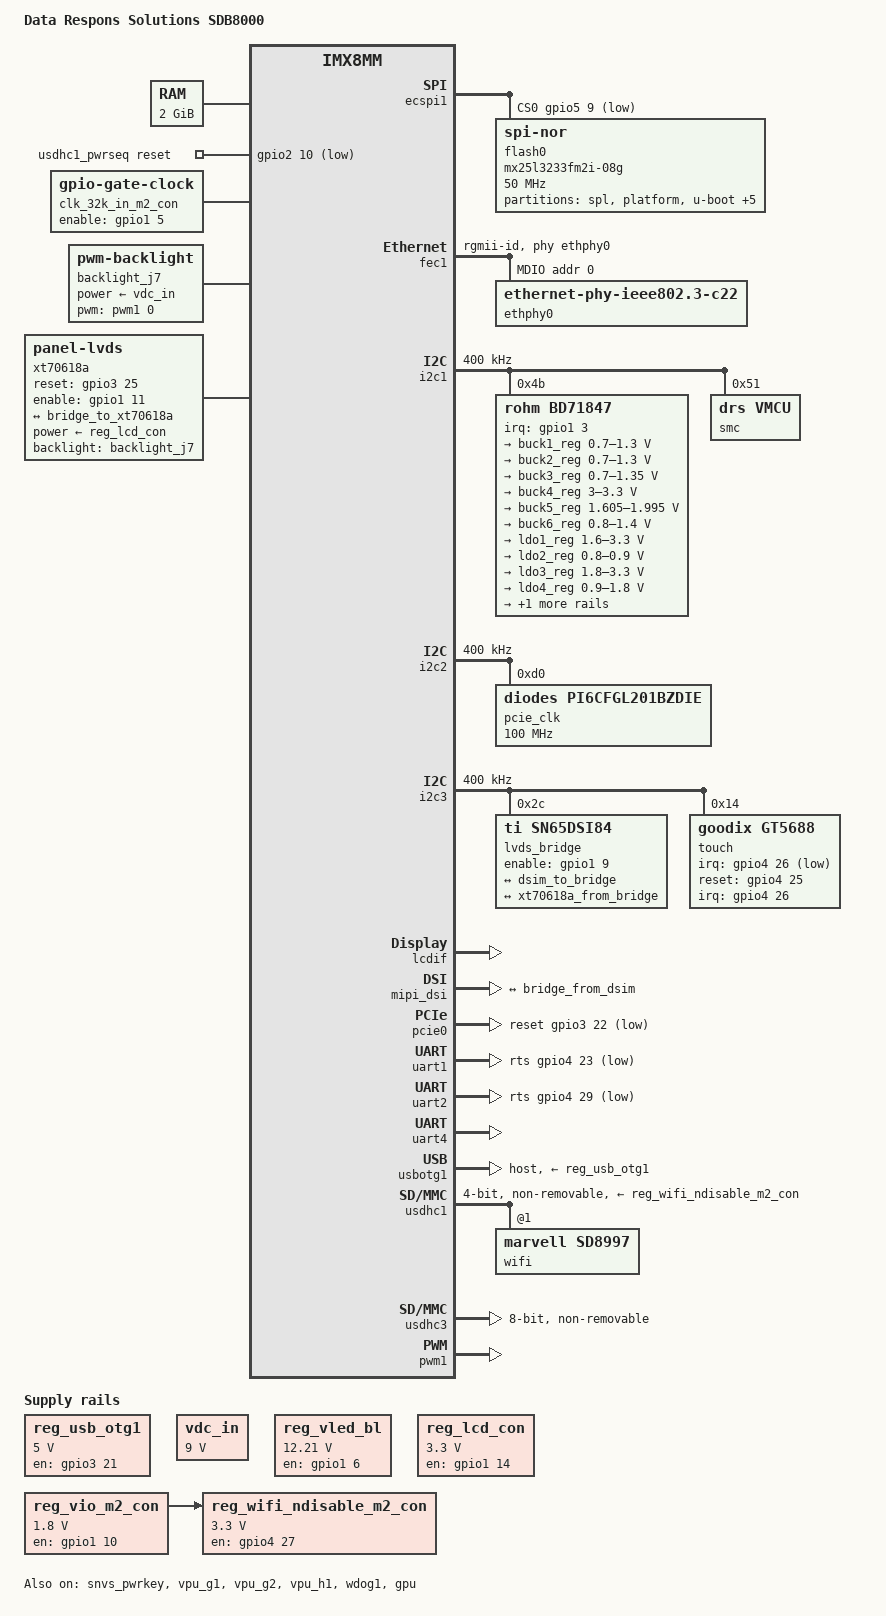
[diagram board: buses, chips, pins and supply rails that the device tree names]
// SPDX-License-Identifier: (GPL-2.0+ OR MIT)
/*
 * Copyright 2021 Data Respons Solutions AB
 */

/dts-v1/;

#include "imx8mm.dtsi"

/ {
	model = "Data Respons Solutions SDB8000";
	compatible = "drs,sdb8000", "fsl,imx8mm";

	chosen {
		stdout-path = &uart4;
	};

	aliases {
		rtc0 = &smc;
		rtc1 = &snvs_rtc;
	};

	memory@40000000 {
		device_type = "memory";
		reg = <0x0 0x40000000 0 0x80000000>;
	};

	reg_usb_otg1: regulator-usb-otg1 {
		compatible = "regulator-fixed";
		pinctrl-names = "default";
		pinctrl-0 = <&pinctrl_reg_usb_otg1>;
		regulator-name = "USB_OTG1_5V";
		regulator-min-microvolt = <5000000>;
		regulator-max-microvolt = <5000000>;
		gpio = <&gpio3 21 GPIO_ACTIVE_HIGH>;
		off-on-delay-us = <20000>;
		enable-active-high;
		regulator-always-on;
	};

	//FIXME: Find better type for VDC_IN 9-36V
	vdc_in: vdc-in {
		compatible = "regulator-fixed";
		regulator-name = "VDC_IN";
		regulator-min-microvolt = <9000000>;
		regulator-max-microvolt = <9000000>;
		regulator-always-on;
	};

	reg_vled_bl: regulator-vled-bl {
		compatible = "regulator-fixed";
		pinctrl-names = "default";
		pinctrl-0 = <&pinctrl_reg_vled_bl>;
		regulator-name = "VLED_BL";
		regulator-min-microvolt = <12210000>;
		regulator-max-microvolt = <12210000>;
		gpio = <&gpio1 6 GPIO_ACTIVE_HIGH>;
		off-on-delay-us = <20000>;
		enable-active-high;
	};

	reg_lcd_con: regulator-lcd-con {
		compatible = "regulator-fixed";
		pinctrl-names = "default";
		pinctrl-0 = <&pinctrl_reg_lcd_con>;
		regulator-name = "LCD_CON-VDD";
		regulator-min-microvolt = <3300000>;
		regulator-max-microvolt = <3300000>;
		gpio = <&gpio1 14 GPIO_ACTIVE_HIGH>;
		off-on-delay-us = <20000>;
		enable-active-high;
	};

	reg_vio_m2_con: regulator-vio-m2-con {
		compatible = "regulator-fixed";
		pinctrl-names = "default";
		pinctrl-0 = <&pinctrl_reg_vio_m2_con>;
		regulator-name = "VIO-M2_CON";
		regulator-min-microvolt = <1800000>;
		regulator-max-microvolt = <1800000>;
		gpio = <&gpio1 10 GPIO_ACTIVE_HIGH>;
		off-on-delay-us = <20000>;
		enable-active-high;
	};

	reg_wifi_ndisable_m2_con: reg-wifi-ndisable-m2-con {
		compatible = "regulator-fixed";
		pinctrl-names = "default";
		pinctrl-0 = <&pinctrl_reg_wifi_ndisable_m2_con>;
		vin-supply = <&reg_vio_m2_con>;
		regulator-name = "WIFI_nDISABLE-M2_CON";
		regulator-min-microvolt = <3300000>;
		regulator-max-microvolt = <3300000>;
		gpio = <&gpio4 27 GPIO_ACTIVE_HIGH>;
		startup-delay-us = <1000>;
		enable-active-high;
	};

	usdhc1_pwrseq: usdhc1_pwrseq {
		compatible = "mmc-pwrseq-simple";
		pinctrl-names = "default";
		pinctrl-0 = <&pinctrl_usdhc1_pwrseq>;
		reset-gpios = <&gpio2 10 GPIO_ACTIVE_LOW>;
		post-power-on-delay-ms = <1>;
		clocks = <&clk_32k_in_m2_con>;
		clock-names = "ext_clock";
	};

	clk_32k_in_m2_con: clk-32k-in-m2-con {
		compatible = "gpio-gate-clock";
		pinctrl-names = "default";
		pinctrl-0 = <&pinctrl_clk_32k_in_m2_con>;
		clocks = <&osc_32k>;
		#clock-cells = <0>;
		enable-gpios = <&gpio1 5 GPIO_ACTIVE_HIGH>;
	};

/*
	backlight_j5: backlight-j5 {
		compatible = "pwm-backlight";
		pwms = <&pwm1 0 1000000>;
        brightness-levels = <	0 1 2 3 4 5 6 7 8 9 10 15 20 25
        						30 40 50 60 70 80 90 100 120 150
        					>;
		default-brightness-level = <23>;
		power-supply = <&reg_vled_bl>;
	};
*/
	backlight_j7: backlight-j7 {
		compatible = "pwm-backlight";
		pwms = <&pwm1 0 1000000 0>;
        brightness-levels = <	0 1 2 3 4 5 6 7 8 9 10 15 20 25
        						30 40 50 60 70 80 90 100 120 150
        					>;
		default-brightness-level = <23>;
		power-supply = <&vdc_in>;
		status = "okay";
	};

	panel_lvds: xt70618a {
		compatible = "panel-lvds";
		label = "xt70618a";
		data-mapping = "jeida-24";
		width-mm = <154>;
		height-mm = <86>;
		reset-gpios = <&gpio3 25 GPIO_ACTIVE_HIGH>;
		enable-gpios = <&gpio1 11 GPIO_ACTIVE_HIGH>;
		power-supply = <&reg_lcd_con>;
		backlight = <&backlight_j7>;

		panel-timing {
			clock-frequency = <51200000>; // 40,8 ~ 67,2
			hactive = <1024>;
			vactive = <600>;
			hback-porch = <30>;
			hfront-porch = <30>;
			vback-porch = <10>;
			vfront-porch = <10>;
			hsync-len = <260>;
			vsync-len = <15>;
		};

		port {
			xt70618a_from_bridge: endpoint {
				remote-endpoint = <&bridge_to_xt70618a>;
			};
		};
	};
};

&ddrc {
	operating-points-v2 = <&ddrc_opp_table>;

	ddrc_opp_table: opp-table {
		compatible = "operating-points-v2";

		opp-25M {
			opp-hz = /bits/ 64 <25000000>;
		};

		opp-100M {
			opp-hz = /bits/ 64 <100000000>;
		};

		opp-750M {
			opp-hz = /bits/ 64 <750000000>;
		};
	};
};

&A53_0 {
	cpu-supply = <&buck2_reg>;
};

&A53_1 {
	cpu-supply = <&buck2_reg>;
};

&A53_2 {
	cpu-supply = <&buck2_reg>;
};

&A53_3 {
	cpu-supply = <&buck2_reg>;
};

&ecspi1 {
	#address-cells = <1>;
	#size-cells = <0>;
	pinctrl-names = "default";
	pinctrl-0 = <&pinctrl_ecspi1>;
	cs-gpios = <&gpio5 9 GPIO_ACTIVE_LOW>;
	status = "okay";

	flash0: mx25l3233fm2i-08g@0 {
		//FIXME: WP
		reg = <0>;
		#address-cells = <1>;
		#size-cells = <1>;
		compatible = "jedec,spi-nor";
		spi-max-frequency = <50000000>;

		partitions {
			compatible = "fixed-partitions";
			#address-cells = <1>;
			#size-cells = <1>;

			spl@0 {
				label = "spl";
				reg = <0x000000 0x040000>;
			};

			platform@40000 {
				label = "platform";
				reg = <0x040000 0x010000>;
				read-only;
			};

			u-boot@50000 {
				label = "u-boot";
				reg = <0x050000 0x1A0000>;
			};

			u-boot-second@1F0000 {
				label = "u-boot-second";
				reg = <0x1F0000 0x1A0000>;
			};

			system_a@390000 {
				label = "system_a";
				reg = <0x390000 0x010000>;
			};

			system_b@3A0000 {
				label = "system_b";
				reg = <0x3A0000 0x010000>;
			};

			user_a@3B0000 {
				label = "user_a";
				reg = <0x3B0000 0x010000>;
			};

			user_b@3C0000 {
				label = "user_b";
				reg = <0x3C0000 0x010000>;
			};
		};
	};
};

&ecspi2 {
	#address-cells = <1>;
	#size-cells = <0>;
	pinctrl-names = "default";
	pinctrl-0 = <&pinctrl_ecspi2>;
	cs-gpios = <&gpio5 13 GPIO_ACTIVE_LOW>;
};

&fec1 {
	pinctrl-names = "default";
	pinctrl-0 = <&pinctrl_fec1>;
	phy-mode = "rgmii-id";
	phy-handle = <&ethphy0>;
	fsl,magic-packet;
	status = "okay";

	mdio {
		#address-cells = <1>;
		#size-cells = <0>;

		ethphy0: ethernet-phy@0 {
			compatible = "ethernet-phy-ieee802.3-c22";
			reg = <0>;
			at803x,eee-disabled;
			at803x,vddio-1p8v;
		};
	};
};

&i2c1 {
	clock-frequency = <400000>;
	pinctrl-names = "default";
	pinctrl-0 = <&pinctrl_i2c1>;
	status = "okay";

	bd71847: pmic@4b {
		compatible = "rohm,bd71847";
		reg = <0x4b>;
		pinctrl-0 = <&pinctrl_pmic>;
		pinctrl-names = "default";
		interrupt-parent = <&gpio1>;
		interrupts = <3 GPIO_ACTIVE_LOW>;
		rohm,reset-snvs-powered;

		#clock-cells = <0>;
		clocks = <&osc_32k 0>;
		clock-output-names = "clk-32k-out";

		regulators {
			buck1_reg: BUCK1 {
				regulator-name = "BUCK1";
				regulator-min-microvolt = <700000>;
				regulator-max-microvolt = <1300000>;
				regulator-boot-on;
				regulator-always-on;
				regulator-ramp-delay = <1250>;
			};

			buck2_reg: BUCK2 {
				regulator-name = "BUCK2";
				regulator-min-microvolt = <700000>;
				regulator-max-microvolt = <1300000>;
				regulator-boot-on;
				regulator-always-on;
				regulator-ramp-delay = <1250>;
				rohm,dvs-run-voltage = <1000000>;
				rohm,dvs-idle-voltage = <900000>;
			};

			buck3_reg: BUCK3 {
				// BUCK5 in datasheet
				regulator-name = "BUCK3";
				regulator-min-microvolt = <700000>;
				regulator-max-microvolt = <1350000>;
				regulator-boot-on;
				regulator-always-on;
			};

			buck4_reg: BUCK4 {
				// BUCK6 in datasheet
				regulator-name = "BUCK4";
				regulator-min-microvolt = <3000000>;
				regulator-max-microvolt = <3300000>;
				regulator-boot-on;
				regulator-always-on;
			};

			buck5_reg: BUCK5 {
				// BUCK7 in datasheet
				regulator-name = "BUCK5";
				regulator-min-microvolt = <1605000>;
				regulator-max-microvolt = <1995000>;
				regulator-boot-on;
				regulator-always-on;
			};

			buck6_reg: BUCK6 {
				// BUCK8 in datasheet
				regulator-name = "BUCK6";
				regulator-min-microvolt = <800000>;
				regulator-max-microvolt = <1400000>;
				regulator-boot-on;
				regulator-always-on;
			};

			ldo1_reg: LDO1 {
				regulator-name = "LDO1";
				regulator-min-microvolt = <1600000>;
				regulator-max-microvolt = <3300000>;
				regulator-boot-on;
				regulator-always-on;
			};

			ldo2_reg: LDO2 {
				regulator-name = "LDO2";
				regulator-min-microvolt = <800000>;
				regulator-max-microvolt = <900000>;
				regulator-boot-on;
				regulator-always-on;
			};

			ldo3_reg: LDO3 {
				regulator-name = "LDO3";
				regulator-min-microvolt = <1800000>;
				regulator-max-microvolt = <3300000>;
				regulator-boot-on;
				regulator-always-on;
			};

			ldo4_reg: LDO4 {
				regulator-name = "LDO4";
				regulator-min-microvolt = <900000>;
				regulator-max-microvolt = <1800000>;
				regulator-boot-on;
				regulator-always-on;
			};

			ldo6_reg: LDO6 {
				regulator-name = "LDO6";
				regulator-min-microvolt = <900000>;
				regulator-max-microvolt = <1800000>;
				regulator-boot-on;
				regulator-always-on;
			};
		};
	};


	smc: vmcu@51 {
		compatible = "drs,vmcu";
		reg = <0x51>;
		//FIXME: move interrupt
		//interrupt-parent = <&gpio5>;
		//interrupts = <9 IRQ_TYPE_EDGE_FALLING>;
	};
};

&i2c2 {
	clock-frequency = <400000>;
	pinctrl-names = "default";
	pinctrl-0 = <&pinctrl_i2c2>;
	status = "okay";

	pcie_clk: pi6cfgl201bzdie@d0 {
		compatible = "diodes,pi6cfgl201bzdie", "fixed-clock";
		reg = <0xd0>;
		#clock-cells = <0>;
		clock-frequency = <100000000>;
	};
};

&i2c3 {
	clock-frequency = <400000>;
	pinctrl-names = "default";
	pinctrl-0 = <&pinctrl_i2c3>;
	status = "okay";

	lvds_bridge: sn65dsi84@2c {
		compatible = "ti,sn65dsi84";
		reg = <0x2c>;
		enable-gpios = <&gpio1 9 GPIO_ACTIVE_HIGH>;

		ports {
			#address-cells = <1>;
			#size-cells = <0>;

			port@0 {
				reg = <0>;
				bridge_from_dsim: endpoint {
					remote-endpoint = <&dsim_to_bridge>;
					data-lanes = <1 2 3 4>;
				};
			};

			port@2 {
				reg = <2>;
				bridge_to_xt70618a: endpoint {
					remote-endpoint = <&xt70618a_from_bridge>;
				};
			};
		};
	};

	touch: gt5688@14 {
    	compatible = "goodix,gt5688";
    	reg = <0x14>;
    	interrupt-parent = <&gpio4>;
    	interrupts = <26 IRQ_TYPE_NONE>;
    	irq-gpios = <&gpio4 26 GPIO_ACTIVE_LOW>;
    	reset-gpios = <&gpio4 25 GPIO_ACTIVE_HIGH>;
	};
};

&lcdif {
	status = "okay";
};

&mipi_dsi {
	status = "okay";
	port@1 {
		dsim_to_bridge: endpoint {
			remote-endpoint = <&bridge_from_dsim>;
			attach-bridge;
		};
	};
};

&pcie0{
	pinctrl-names = "default";
	pinctrl-0 = <&pinctrl_pcie0>;
	reset-gpio = <&gpio3 22 GPIO_ACTIVE_LOW>;
	clocks = <&clk IMX8MM_CLK_PCIE1_ROOT>,
		 <&clk IMX8MM_CLK_PCIE1_AUX>,
		 <&clk IMX8MM_CLK_PCIE1_PHY>,
		 <&pcie_clk>;
	clock-names = "pcie", "pcie_aux", "pcie_phy", "pcie_bus";
	assigned-clocks = <&clk IMX8MM_CLK_PCIE1_AUX>;
	assigned-clock-rates = <10000000>;
	assigned-clock-parents = <&clk IMX8MM_SYS_PLL2_50M>;
	ext_osc = <1>;
	status = "okay";
};

&snvs_pwrkey {
	status = "okay";
};

&uart1 {
	pinctrl-names = "default";
	pinctrl-0 = <&pinctrl_uart1>;
	cts-gpios = <&gpio4 24 GPIO_ACTIVE_LOW>;
	rts-gpios = <&gpio4 23 GPIO_ACTIVE_LOW>;
	status = "okay";
};

&uart2 {
	pinctrl-names = "default";
	pinctrl-0 = <&pinctrl_uart2>;
	cts-gpios = <&gpio4 30 GPIO_ACTIVE_LOW>;
	rts-gpios = <&gpio4 29 GPIO_ACTIVE_LOW>;
	fsl,dte-mode;
	status = "okay";
};

&uart4 {
	pinctrl-names = "default";
	pinctrl-0 = <&pinctrl_uart4>;
	status = "okay";
};

&usbotg1 {
	dr_mode = "host";
	vbus-supply = <&reg_usb_otg1>;
	status = "okay";
};

&usdhc1 {
	#address-cells = <1>;
	#size-cells = <0>;
	pinctrl-names = "default", "state_100mhz", "state_200mhz";
	pinctrl-0 = <&pinctrl_usdhc1>;
	pinctrl-1 = <&pinctrl_usdhc1_100mhz>;
	pinctrl-2 = <&pinctrl_usdhc1_200mhz>;
	bus-width = <4>;
	cap-power-off-card;
	pm-ignore-notify;
	keep-power-in-suspend;
	non-removable;
	mmc-pwrseq = <&usdhc1_pwrseq>;
	vmmc-supply = <&reg_wifi_ndisable_m2_con>;
	status = "okay";

	wifi: wifi@1 {
		compatible = "marvell,sd8997";
		reg = <1>;
	};
};

&usdhc3 {
	assigned-clocks = <&clk IMX8MM_CLK_USDHC3_ROOT>;
	assigned-clock-rates = <400000000>;
	pinctrl-names = "default", "state_100mhz", "state_200mhz";
	pinctrl-0 = <&pinctrl_usdhc3>;
	pinctrl-1 = <&pinctrl_usdhc3_100mhz>;
	pinctrl-2 = <&pinctrl_usdhc3_200mhz>;
	bus-width = <8>;
	non-removable;
	status = "okay";

	partitions {
		compatible = "fixed-partitions";
		#address-cells = <1>;
		#size-cells = <1>;

		reserved@0 {
			label = "reserved";
			reg = <0x0 0x1000000>;
		};
	};
};

&pwm1 {
	pinctrl-names = "default";
	pinctrl-0 = <&pinctrl_pwm1>;
	status = "okay";
};

&vpu_g1 {
	status = "okay";
};

&vpu_g2 {
	status = "okay";
};

&vpu_h1 {
	status = "okay";
};

&wdog1 {
	pinctrl-names = "default";
	pinctrl-0 = <&pinctrl_wdog>;
	fsl,ext-reset-output;
	status = "okay";
};

&gpu {
	status = "okay";
};

&iomuxc {
	pinctrl-names = "default";
	pinctrl-0 = <&pinctrl_hog_1>;

	pinctrl_hog_1: hog1grp {
		fsl,pins = <
			// Used by panel
			MX8MM_IOMUXC_SAI5_MCLK_GPIO3_IO25	0x0 /* LCD_CON-RESET */
			MX8MM_IOMUXC_GPIO1_IO11_GPIO1_IO11	0x0 /* LCD_CON-STBY */
		>;
	};

	pinctrl_ecspi1: ecspi1grp {
		fsl,pins = <
			MX8MM_IOMUXC_ECSPI1_SCLK_ECSPI1_SCLK	0x82
			MX8MM_IOMUXC_ECSPI1_MISO_ECSPI1_MISO	0x82
			MX8MM_IOMUXC_ECSPI1_MOSI_ECSPI1_MOSI	0x82
			MX8MM_IOMUXC_ECSPI1_SS0_GPIO5_IO9		0x0 /* ECSPI1_SS0 */
			MX8MM_IOMUXC_GPIO1_IO15_GPIO1_IO15		0x0 /* WP_Flash */
		>;
	};

	pinctrl_ecspi2: ecspi2grp {
		fsl,pins = <
			MX8MM_IOMUXC_ECSPI2_SCLK_ECSPI2_SCLK	0x82
			MX8MM_IOMUXC_ECSPI2_MOSI_ECSPI2_MOSI	0x82
			MX8MM_IOMUXC_ECSPI2_MISO_ECSPI2_MISO	0x82
			MX8MM_IOMUXC_ECSPI2_SS0_GPIO5_IO13		0x0 /* ECSPI2_SS0 */
		>;
	};

	pinctrl_fec1: fec1grp {
		fsl,pins = <
			MX8MM_IOMUXC_ENET_MDC_ENET1_MDC			0x3
			MX8MM_IOMUXC_ENET_MDIO_ENET1_MDIO		0x3
			MX8MM_IOMUXC_ENET_TD3_ENET1_RGMII_TD3		0x1f
			MX8MM_IOMUXC_ENET_TD2_ENET1_RGMII_TD2		0x1f
			MX8MM_IOMUXC_ENET_TD1_ENET1_RGMII_TD1		0x1f
			MX8MM_IOMUXC_ENET_TD0_ENET1_RGMII_TD0		0x1f
			MX8MM_IOMUXC_ENET_RD3_ENET1_RGMII_RD3		0x91
			MX8MM_IOMUXC_ENET_RD2_ENET1_RGMII_RD2		0x91
			MX8MM_IOMUXC_ENET_RD1_ENET1_RGMII_RD1		0x91
			MX8MM_IOMUXC_ENET_RD0_ENET1_RGMII_RD0		0x91
			MX8MM_IOMUXC_ENET_TXC_ENET1_RGMII_TXC		0x1f
			MX8MM_IOMUXC_ENET_RXC_ENET1_RGMII_RXC		0x91
			MX8MM_IOMUXC_ENET_RX_CTL_ENET1_RGMII_RX_CTL	0x91
			MX8MM_IOMUXC_ENET_TX_CTL_ENET1_RGMII_TX_CTL	0x1f
			MX8MM_IOMUXC_SAI2_RXC_GPIO4_IO22		0x19
		>;
	};

	pinctrl_i2c1: i2c1grp {
		fsl,pins = <
			MX8MM_IOMUXC_I2C1_SCL_I2C1_SCL		0x40000083
			MX8MM_IOMUXC_I2C1_SDA_I2C1_SDA		0x40000083
		>;
	};

	pinctrl_i2c2: i2c2grp {
		fsl,pins = <
			MX8MM_IOMUXC_I2C2_SCL_I2C2_SCL		0x40000083
			MX8MM_IOMUXC_I2C2_SDA_I2C2_SDA		0x40000083
		>;
	};

	pinctrl_i2c3: i2c3grp {
		fsl,pins = <
			MX8MM_IOMUXC_I2C3_SCL_I2C3_SCL		0x40000083
			MX8MM_IOMUXC_I2C3_SDA_I2C3_SDA		0x40000083
			MX8MM_IOMUXC_GPIO1_IO09_GPIO1_IO9	0x0 /* MIPI_DSI_EN */
			MX8MM_IOMUXC_GPIO1_IO13_GPIO1_IO13	0x80 /* MIPI_DSI_INT */
			MX8MM_IOMUXC_SAI2_TXD0_GPIO4_IO26	0x80 /* INT_TP */
			MX8MM_IOMUXC_SAI2_TXC_GPIO4_IO25	0x0 /* RST_TP */
		>;
	};

	pinctrl_pcie0: pcie0grp {
		fsl,pins = <
			MX8MM_IOMUXC_I2C4_SCL_PCIE1_CLKREQ_B	0x20 /* I2C4_SCL */
			MX8MM_IOMUXC_SAI5_RXD1_GPIO3_IO22		0x0 /* LAN1_PE_nRST */
			MX8MM_IOMUXC_SAI5_RXD2_GPIO3_IO23		0x0 /* LAN1_nSMBALRT */
			MX8MM_IOMUXC_SAI5_RXD3_GPIO3_IO24		0x0 /* LAN1_nWAKE */
		>;
	};

	pinctrl_uart1: uart1grp {
		fsl,pins = <
			MX8MM_IOMUXC_UART1_RXD_UART1_DCE_RX		0x80
			MX8MM_IOMUXC_UART1_TXD_UART1_DCE_TX		0x80
			MX8MM_IOMUXC_SAI2_TXFS_GPIO4_IO24		0x80
			MX8MM_IOMUXC_SAI2_RXD0_GPIO4_IO23		0x80
		>;
	};

	pinctrl_uart2: uart2grp {
		fsl,pins = <
			MX8MM_IOMUXC_UART2_RXD_UART2_DTE_TX		0x80
			MX8MM_IOMUXC_UART2_TXD_UART2_DTE_RX		0x80
			MX8MM_IOMUXC_SAI3_RXC_GPIO4_IO29		0x80
			MX8MM_IOMUXC_SAI3_RXD_GPIO4_IO30		0x80
		>;
	};

	pinctrl_uart4: uart4grp {
		fsl,pins = <
			MX8MM_IOMUXC_UART4_RXD_UART4_DCE_RX		0x80
			MX8MM_IOMUXC_UART4_TXD_UART4_DCE_TX		0x80
		>;
	};

	pinctrl_pmic: pmicirqgrp {
		fsl,pins = <
			MX8MM_IOMUXC_GPIO1_IO03_GPIO1_IO3		0x41
		>;
	};

	pinctrl_wdog: wdoggrp {
		fsl,pins = <
			MX8MM_IOMUXC_GPIO1_IO02_WDOG1_WDOG_B	0xc6
		>;
	};

	pinctrl_reg_usb_otg1: usbotg1grp {
		fsl,pins = <
			MX8MM_IOMUXC_SAI5_RXD0_GPIO3_IO21	0x41
		>;
	};

	pinctrl_usdhc1_pwrseq: usdhc1pwrseqgrp{
		fsl,pins = <
			MX8MM_IOMUXC_SD1_RESET_B_GPIO2_IO10	0x0 /* WL_REG_ON */
		>;
	};

	pinctrl_usdhc1: usdhc1grp {
		fsl,pins = <
			MX8MM_IOMUXC_SD1_CLK_USDHC1_CLK		0x190
			MX8MM_IOMUXC_SD1_CMD_USDHC1_CMD		0x1d0
			MX8MM_IOMUXC_SD1_DATA0_USDHC1_DATA0	0x1d0
			MX8MM_IOMUXC_SD1_DATA1_USDHC1_DATA1	0x1d0
			MX8MM_IOMUXC_SD1_DATA2_USDHC1_DATA2	0x1d0
			MX8MM_IOMUXC_SD1_DATA3_USDHC1_DATA3	0x1d0
		>;
	};

	pinctrl_usdhc1_100mhz: usdhc1grp100mhz {
		fsl,pins = <
			MX8MM_IOMUXC_SD1_CLK_USDHC1_CLK		0x194
			MX8MM_IOMUXC_SD1_CMD_USDHC1_CMD		0x1d4
			MX8MM_IOMUXC_SD1_DATA0_USDHC1_DATA0	0x1d4
			MX8MM_IOMUXC_SD1_DATA1_USDHC1_DATA1	0x1d4
			MX8MM_IOMUXC_SD1_DATA2_USDHC1_DATA2	0x1d4
			MX8MM_IOMUXC_SD1_DATA3_USDHC1_DATA3	0x1d4
		>;
	};

	pinctrl_usdhc1_200mhz: usdhc1grp200mhz {
		fsl,pins = <
			MX8MM_IOMUXC_SD1_CLK_USDHC1_CLK		0x196
			MX8MM_IOMUXC_SD1_CMD_USDHC1_CMD		0x1d6
			MX8MM_IOMUXC_SD1_DATA0_USDHC1_DATA0	0x1d6
			MX8MM_IOMUXC_SD1_DATA1_USDHC1_DATA1	0x1d6
			MX8MM_IOMUXC_SD1_DATA2_USDHC1_DATA2	0x1d6
			MX8MM_IOMUXC_SD1_DATA3_USDHC1_DATA3	0x1d6
		>;
	};

	pinctrl_usdhc3: usdhc3grp {
		fsl,pins = <
			MX8MM_IOMUXC_NAND_WE_B_USDHC3_CLK               0x190
			MX8MM_IOMUXC_NAND_WP_B_USDHC3_CMD               0x1d0
			MX8MM_IOMUXC_NAND_DATA04_USDHC3_DATA0           0x1d0
			MX8MM_IOMUXC_NAND_DATA05_USDHC3_DATA1           0x1d0
			MX8MM_IOMUXC_NAND_DATA06_USDHC3_DATA2           0x1d0
			MX8MM_IOMUXC_NAND_DATA06_USDHC3_DATA2           0x1d0
			MX8MM_IOMUXC_NAND_DATA07_USDHC3_DATA3           0x1d0
			MX8MM_IOMUXC_NAND_RE_B_USDHC3_DATA4             0x1d0
			MX8MM_IOMUXC_NAND_CE2_B_USDHC3_DATA5            0x1d0
			MX8MM_IOMUXC_NAND_CE3_B_USDHC3_DATA6            0x1d0
			MX8MM_IOMUXC_NAND_CLE_USDHC3_DATA7              0x1d0
			MX8MM_IOMUXC_NAND_CE1_B_USDHC3_STROBE           0x190
			/* FIXME: USDHC3_RESET_B: MX8MM_IOMUXC_NAND_READY_B_SIM_M_HADDR12 0xXX */
		>;
	};

	pinctrl_usdhc3_100mhz: usdhc3-100mhzgrp {
		fsl,pins = <
			MX8MM_IOMUXC_NAND_WE_B_USDHC3_CLK               0x194
			MX8MM_IOMUXC_NAND_WP_B_USDHC3_CMD               0x1d4
			MX8MM_IOMUXC_NAND_DATA04_USDHC3_DATA0           0x1d4
			MX8MM_IOMUXC_NAND_DATA05_USDHC3_DATA1           0x1d4
			MX8MM_IOMUXC_NAND_DATA06_USDHC3_DATA2           0x1d4
			MX8MM_IOMUXC_NAND_DATA07_USDHC3_DATA3           0x1d4
			MX8MM_IOMUXC_NAND_RE_B_USDHC3_DATA4             0x1d4
			MX8MM_IOMUXC_NAND_CE2_B_USDHC3_DATA5            0x1d4
			MX8MM_IOMUXC_NAND_CE3_B_USDHC3_DATA6            0x1d4
			MX8MM_IOMUXC_NAND_CLE_USDHC3_DATA7              0x1d4
			MX8MM_IOMUXC_NAND_CE1_B_USDHC3_STROBE           0x194
			/* FIXME: USDHC3_RESET_B: MX8MM_IOMUXC_NAND_READY_B_SIM_M_HADDR12 0xXX */
		>;
	};

	pinctrl_usdhc3_200mhz: usdhc3-200mhzgrp {
		fsl,pins = <
			MX8MM_IOMUXC_NAND_WE_B_USDHC3_CLK               0x196
			MX8MM_IOMUXC_NAND_WP_B_USDHC3_CMD               0x1d6
			MX8MM_IOMUXC_NAND_DATA04_USDHC3_DATA0           0x1d6
			MX8MM_IOMUXC_NAND_DATA05_USDHC3_DATA1           0x1d6
			MX8MM_IOMUXC_NAND_DATA06_USDHC3_DATA2           0x1d6
			MX8MM_IOMUXC_NAND_DATA07_USDHC3_DATA3           0x1d6
			MX8MM_IOMUXC_NAND_RE_B_USDHC3_DATA4             0x1d6
			MX8MM_IOMUXC_NAND_CE2_B_USDHC3_DATA5            0x1d6
			MX8MM_IOMUXC_NAND_CE3_B_USDHC3_DATA6            0x1d6
			MX8MM_IOMUXC_NAND_CLE_USDHC3_DATA7              0x1d6
			MX8MM_IOMUXC_NAND_CE1_B_USDHC3_STROBE           0x196
			/* FIXME: USDHC3_RESET_B: MX8MM_IOMUXC_NAND_READY_B_SIM_M_HADDR12 0xXX */
		>;
	};

	pinctrl_pwm1: pwm1grp {
		fsl,pins = <
			MX8MM_IOMUXC_I2C4_SDA_PWM1_OUT	0x0 /* LCD_BK_PWM-CPU */
		>;
	};

	pinctrl_reg_vled_bl: regvledblgrp {
		fsl,pins = <
			MX8MM_IOMUXC_GPIO1_IO06_GPIO1_IO6 0x0 /* LCD_BK_EN-CPU */
		>;
	};

	pinctrl_reg_lcd_con: reglcdcongrp {
		fsl,pins = <
			MX8MM_IOMUXC_GPIO1_IO14_GPIO1_IO14	0x0 /* LCD_PWR_EN */
		>;
	};

	pinctrl_reg_vio_m2_con: regviom2congrp {
		fsl,pins = <
			MX8MM_IOMUXC_GPIO1_IO10_GPIO1_IO10	0x0 /* SOC_M2_PEN */
		>;
	};

	pinctrl_reg_wifi_ndisable_m2_con: regwifindisablem2grp {
		fsl,pins = <
			MX8MM_IOMUXC_SAI2_MCLK_GPIO4_IO27	0x0 /* PCIe_nDIS_LV */
		>;
	};

	pinctrl_clk_32k_in_m2_con: clk32kinm2congrp {
		fsl,pins = <
			MX8MM_IOMUXC_GPIO1_IO05_GPIO1_IO5	0x0 /* CLK_32KOUT-CTRL */
			MX8MM_IOMUXC_GPIO1_IO00_ANAMIX_REF_CLK_32K	0x141 /* REF_CLK_32K */
		>;
	};
};
